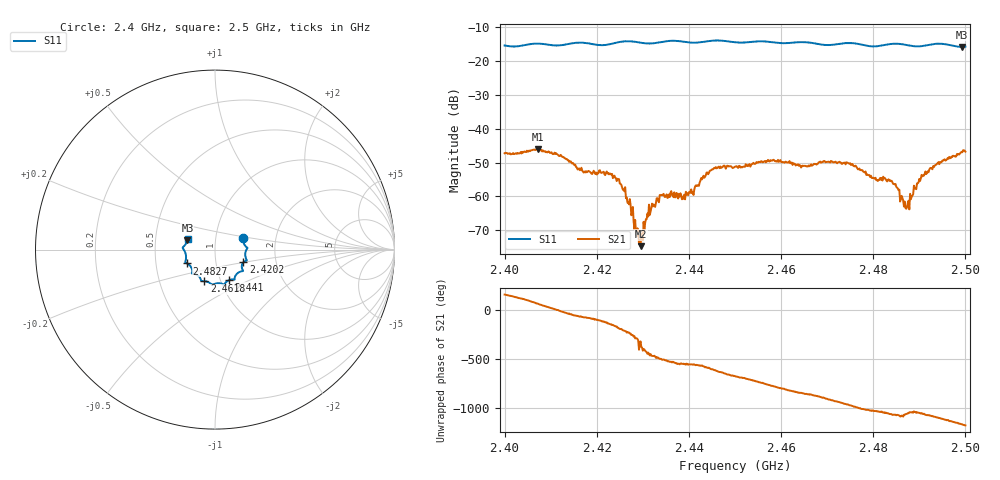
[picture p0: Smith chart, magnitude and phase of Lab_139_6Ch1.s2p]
# Hz S RI R
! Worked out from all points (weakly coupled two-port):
!   601 points, 2.4 GHz to 2.5 GHz, reference 50 ohm
!   highest |S21| = -45.97 dB at 2.4072 GHz (marker M1); lowest = -74.7 dB at 2.4295 GHz (marker M2)
!   lowest |S11| = -15.8 dB at 2.4993 GHz (marker M3), VSWR 1.39, Z = 36.5 + j3.86 ohm
!   |S11| at or under -10 dB: start of sweep to end of sweep
!   S12 and S22 are empty: the file has one direction only
!   S11 on the Smith chart (normalised r, x): 2.4 GHz: 1.36, +0.17; 2.4202 GHz: 1.36, -0.20; 2.441 GHz: 1.10, -0.39; 2.4618 GHz: 0.84, -0.30; 2.4827 GHz: 0.72, -0.11; 2.5 GHz: 0.73, +0.09
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2.4e9  0.158 0.0623  -0.00384 0.002  0 0  0 0
2.407167e9  0.1811 0.0092  0.00246 0.00438  0 0  0 0
2.416667e9  0.1772 -0.0609  0.000828 -0.00252  0 0  0 0
2.420167e9  0.1581 -0.0712  -0.000545 -0.00217  0 0  0 0
2.425e9  0.1543 -0.1137  -0.00149 0.000424  0 0  0 0
2.427333e9  0.1553 -0.1193  -0.000338 0.000675  0 0  0 0
2.429e9  0.1457 -0.1211  0.000214 0.000229  0 0  0 0
2.4295e9  0.1413 -0.1227  0.000145 0.000112  0 0  0 0
2.4315e9  0.1222 -0.1346  -0.000132 -0.000513  0 0  0 0
2.433333e9  0.1114 -0.151  -0.000521 -0.000675  0 0  0 0
2.441e9  0.0784 -0.1697  -0.001 0.0003  0 0  0 0
2.445333e9  0.0515 -0.1942  -0.000855 0.00241  0 0  0 0
2.45e9  0.0283 -0.1875  0.00194 0.00193  0 0  0 0
2.461833e9  -0.0594 -0.1757  -0.000684 -0.00325  0 0  0 0
2.466667e9  -0.0788 -0.1682  -0.0023 -0.00165  0 0  0 0
2.474667e9  -0.1273 -0.1345  -0.00125 0.00281  0 0  0 0
2.482667e9  -0.1562 -0.0769  0.00155 0.000915  0 0  0 0
2.483333e9  -0.1604 -0.075  0.00162 0.000746  0 0  0 0
2.487333e9  -0.1626 -0.0569  0.000636 0.000266  0 0  0 0
2.490833e9  -0.167 -0.0132  0.00192 0.00069  0 0  0 0
2.499333e9  -0.1537 0.0515  0.000399 -0.00447  0 0  0 0
2.5e9  -0.1519 0.0611  -0.000441 -0.00456  0 0  0 0
